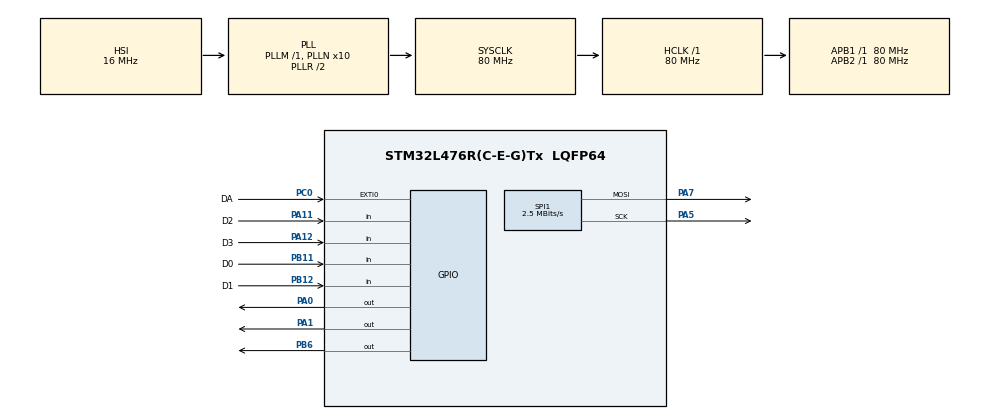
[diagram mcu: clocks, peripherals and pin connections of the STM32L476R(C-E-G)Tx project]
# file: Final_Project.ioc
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Mcu.Family=STM32L4
Mcu.Name=STM32L476R(C-E-G)Tx
Mcu.Package=LQFP64
NVIC.EXTI0_IRQn=true\:0\:0\:false\:false\:true\:true\:true\:true
NVIC.PriorityGroup=NVIC_PRIORITYGROUP_4
PA0.Signal=GPIO_Output
PA1.Signal=GPIO_Output
PA11.GPIO_Label=D2
PA11.Signal=GPIO_Input
PA12.GPIO_Label=D3
PA12.Signal=GPIO_Input
PA13\ (JTMS-SWDIO).GPIO_Label=TMS
PA13\ (JTMS-SWDIO).Mode=Serial_Wire
PA13\ (JTMS-SWDIO).Signal=SYS_JTMS-SWDIO
PA14\ (JTCK-SWCLK).GPIO_Label=TCK
PA14\ (JTCK-SWCLK).Mode=Serial_Wire
PA14\ (JTCK-SWCLK).Signal=SYS_JTCK-SWCLK
PA3.GPIO_Label=USART_RX
PA3.GPIO_Mode=GPIO_MODE_AF_PP
PA3.GPIO_PuPd=GPIO_NOPULL
PA3.GPIO_Speed=GPIO_SPEED_FREQ_VERY_HIGH
PA3.Signal=USART2_RX
PA5.Mode=TX_Only_Simplex_Unidirect_Master
PA5.Signal=SPI1_SCK
PA7.Mode=TX_Only_Simplex_Unidirect_Master
PA7.Signal=SPI1_MOSI
PB11.GPIO_Label=D0
PB11.Signal=GPIO_Input
PB12.GPIO_Label=D1
PB12.Signal=GPIO_Input
PB3\ (JTDO-TRACESWO).GPIO_Label=SWO
PB3\ (JTDO-TRACESWO).Signal=SYS_JTDO-SWO
PB6.Signal=GPIO_Output
PC0.GPIO_Label=DA
PC0.GPIO_ModeDefaultEXTI=GPIO_MODE_IT_RISING
PC0.Signal=GPXTI0
PC14-OSC32_IN\ (PC14).Mode=LSE-External-Oscillator
PC14-OSC32_IN\ (PC14).Signal=RCC_OSC32_IN
PC15-OSC32_OUT\ (PC15).Mode=LSE-External-Oscillator
PC15-OSC32_OUT\ (PC15).Signal=RCC_OSC32_OUT
PH0-OSC_IN\ (PH0).Signal=RCC_OSC_IN
PH1-OSC_OUT\ (PH1).Signal=RCC_OSC_OUT
ProjectManager.HeapSize=0x200
ProjectManager.StackSize=0x400
ProjectManager.TargetToolchain=STM32CubeIDE
RCC.ADCFreq_Value=64000000
RCC.AHBFreq_Value=80000000
RCC.APB1Freq_Value=80000000
RCC.APB1TimFreq_Value=80000000
RCC.APB2Freq_Value=80000000
RCC.APB2TimFreq_Value=80000000
RCC.CortexFreq_Value=80000000
RCC.HCLKFreq_Value=80000000
RCC.HSE_VALUE=8000000
RCC.HSI_VALUE=16000000
RCC.MSI_VALUE=4000000
RCC.PLLN=10
RCC.PLLSourceVirtual=RCC_PLLSOURCE_HSI
RCC.PREFETCH_ENABLE=1
RCC.SYSCLKFreq_VALUE=80000000
RCC.SYSCLKSource=RCC_SYSCLKSOURCE_PLLCLK
RCC.USBFreq_Value=64000000
RCC.VCOOutputFreq_Value=160000000
SPI1.BaudRatePrescaler=SPI_BAUDRATEPRESCALER_32
SPI1.CalculateBaudRate=2.5 MBits/s
SPI1.DataSize=SPI_DATASIZE_8BIT
SPI1.Direction=SPI_DIRECTION_2LINES
SPI1.Mode=SPI_MODE_MASTER
SPI1.VirtualType=VM_MASTER
board=NUCLEO-L476RG

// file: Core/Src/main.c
/* USER CODE BEGIN Header */
/**
  ******************************************************************************
  * @file           : main.c
  * @brief          : Main program body
  ******************************************************************************
  * @attention
  *
  * Copyright (c) 2023 STMicroelectronics.
  * All rights reserved.
  *
  * This software is licensed under terms that can be found in the LICENSE file
  * in the root directory of this software component.
  * If no LICENSE file comes with this software, it is provided AS-IS.
  *
  ******************************************************************************
  */
/* USER CODE END Header */
#include "main.h"

/* USER CODE BEGIN Includes */
#include <math.h>
#include <stdlib.h>
#include <stdio.h>
#include <string.h>
#include <time.h>
/* USER CODE END Includes */

/* USER CODE BEGIN PD */
#define WIDTH 84
#define HEIGHT 48
#define NUM_BANKS 6
/* USER CODE END PD */

/* USER CODE BEGIN PM */
#define CE_PORT GPIOB // PB6 chip enable (aka slave select)
#define CE_PIN GPIO_PIN_6
#define DC_PORT GPIOA // PA0 data/control
#define DC_PIN GPIO_PIN_0
#define RESET_PORT GPIOA // PA1 reset
#define RESET_PIN GPIO_PIN_1
#define GLCD_WIDTH 84
#define GLCD_HEIGHT 48
#define NUM_BANKS 6
/* USER CODE END PM */

SPI_HandleTypeDef hspi1;

/* USER CODE BEGIN PV */
const char font_table[][6] = {
	{0x00, 0x00, 0x00, 0x00, 0x00, 0x00}, // space						0
	{0x3E, 0x41, 0x41, 0x7F, 0x40, 0x20}, // 'A'						1
	{0x7F, 0x49, 0x49, 0x76, 0x40, 0x20}, // 'B'						2
	{0x3E, 0x41, 0x41, 0x41, 0x40, 0x20}, // 'C'						3
	{0x7F, 0x41, 0x41, 0x7E, 0x40, 0x20}, // 'D'						4
	{0x3E, 0x49, 0x49, 0x49, 0x40, 0x20}, // 'E'						5
	{0x7F, 0x09, 0x09, 0x09, 0x10, 0x20}, // 'F'						6
	{0x3E, 0x41, 0x49, 0x39, 0x10, 0x20}, // 'G'						7
	{0x7F, 0x08, 0x08, 0x7F, 0x40, 0x20}, // 'H'						8
	{0x41, 0x7F, 0x41, 0x41, 0x40, 0x20}, // 'I'						9
	{0x21, 0x51, 0x7F, 0x21, 0x20, 0x20}, // 'J'						10
	{0x7F, 0x0C, 0x12, 0x21, 0x40, 0x20}, // 'K'						11
	{0x04, 0x7E, 0x45, 0x42, 0x40, 0x20}, // 'L'						12
	{0x7F, 0x02, 0x04, 0x02, 0x7F, 0x20}, // 'M'						13
	{0x7F, 0x04, 0x08, 0x10, 0x7F, 0x20}, // 'N'						14
	{0x3E, 0x41, 0x41, 0x3E, 0x20, 0x20}, // 'O'						15
	{0x7E, 0x11, 0x11, 0x1E, 0x10, 0x20}, // 'P'						16
	{0x3E, 0x49, 0x51, 0x3E, 0x20, 0x20}, // 'Q'						17
	{0x7F, 0x19, 0x29, 0x46, 0x40, 0x20}, // 'R'						18
	{0x46, 0x49, 0x49, 0x71, 0x40, 0x20}, // 'S'						19
	{0x01, 0x01, 0x7F, 0x41, 0x41, 0x20}, // 'T'						20
	{0x3F, 0x40, 0x40, 0x3F, 0x20, 0x20}, // 'U'						21
	{0x7F, 0x20, 0x10, 0x1F, 0x10, 0x20}, // 'V'						22
	{0x7F, 0x20, 0x10, 0x20, 0x7F, 0x20}, // 'W'						23
	{0x41, 0x22, 0x1C, 0x24, 0x42, 0x20}, // 'X'						24
	{0x4F, 0x50, 0x50, 0x7F, 0x40, 0x20}, // 'Y'						25
	{0x71, 0x49, 0x45, 0x47, 0x40, 0x20}, // 'Z'						26
	{0x00, 0x00, 0x40, 0x00, 0x00, 0x00}, // period						27
	{0x00, 0x00, 0x5F, 0x00, 0x00, 0x00}, // !							28
	{0x00, 0x00, 0x7E, 0x81, 0xB5, 0xA1}, // left smiley face			29
	{0xA1, 0xB5, 0x81, 0x7E, 0x00, 0x00}, // right smiley face			30
};

// IMAGE is like the texture
char IMAGE[HEIGHT][WIDTH];

/* SCREEN is the converted image to an array type that we can display
 * {TOP, 2, 3, 4, 5, BOTTOM} LEFT
 *  ...
 * {TOP, 2, 3, 4, 5, BOTTOM} RIGHT
 *
 * {0xFF, 0xFF, 0xFF, 0xFF, 0xFF, 0xFF},
 * {0x01, 0x00, 0x00, 0x00, 0x00, 0x80},
 * {0x01, 0x00, 0x00, 0x00, 0x00, 0x80},
 * {0x01, 0x00, 0x00, 0x00, 0x00, 0x80}
 */
// 84x48 pixels, 48 separated to six 8-bit pixel lines
char SCREEN[WIDTH][NUM_BANKS];

// Player: stores position, model
struct Actor{
	int x;
	int y;
	int model_width;
	int model_height;
	int speed;
	char* name;
	char* model;
};
char player_model[] = {
	"   x   "
	"  xxx  "
	" xxxxx "
	"xxxxxxx"
};
char O_model[] = {
	"  xxx  "
	" xxxxx "
	"xxxxxxx"
	" xxxxx "
	"  xxx  "
};
char X_model[] = {
	"xx   xx"
	" xx xx "
	"  xxx  "
	" xx xx "
	"xx   xx"
};

// Keeps track of the key that was pressed
char KEY = 0;

// Keeps track if the user wins or lose
char WIN = 0;
char LOSE = 0;

/* USER CODE END PV */

void SystemClock_Config(void);
static void MX_GPIO_Init(void);
static void MX_SPI1_Init(void);
/* USER CODE BEGIN PFP */
void SPI_write(unsigned char data);
void GLCD_data_write(unsigned char data);
void GLCD_command_write(unsigned char data);
void GLCD_init(void);
void GLCD_setCursor(unsigned char x, unsigned char y);
void GLCD_clear(void);
void GLCD_putchar(int font_table_row);
unsigned char keypad_decode();
void HAL_GPIO_EXTI_Callback(uint16_t GPIO_Pin);
/* USER CODE END PFP */

/* USER CODE BEGIN 0 */
/*
 * clears the image so that it is filled with empty spaces
 */
void clearImage(){
	for (int y = 0; y < HEIGHT; ++y)
	{
		for (int x = 0; x < WIDTH; ++x)
		{
			IMAGE[y][x] = ' ';
		}
	}
}

/*
 * Takes data of all actors, such as their position and texture,
 * then converts it to an IMAGE array
 * that represents each pixel on the display/screen.
 * PARAMETER 1: array of address of actors
 * PARAMETER 2: number of actors
 */
void convertToImage(struct Actor* actors[], int num_actors)
{
	for (int i = 0; i < num_actors; ++i)
	{
		// create IMAGE
		int model_pos = 0;
		for (int y = 0; y < HEIGHT; ++y)
		{
			for (int x = 0; x < WIDTH; ++x)
			{
				if (x >= actors[i]->x && x < actors[i]->x+actors[i]->model_width && y >= actors[i]->y && y < actors[i]->y+actors[i]->model_height)
				{
					if (model_pos < actors[i]->model_height * actors[i]->model_width)
					{
						IMAGE[y][x] = actors[i]->model[model_pos];
						++model_pos;
					}
				}
			}
		}
	}
}

/*
 * Converts image to format that the screen can accept.
 */
void convertToScreen()
{
	// convert IMAGE to SCREEN
	for (int x = 0; x < WIDTH; ++x)
	{
        int bank = 0;
        int pixel = 0;
        char binary = 0b00000000;
        for (int y = 0; y < HEIGHT; ++y)
        {
            if (IMAGE[y][x] == 'x')
            {
                binary |= (1 << pixel);
            }
            ++pixel;
            if (pixel == 8)
            {
                SCREEN[x][bank] = binary;
                ++bank;
                pixel = 0;
                binary = 0b00000000;
            }
        }
	}
}

/*
 * draw image on screen by column from left to right
 * works by filling six vertical banks (1 bank = 8 pixels vertically)
 */
void drawScreen()
{
	for (int y=0; y<6; ++y)
	{
		for (int x=0; x<84; ++x)
		{
		  GLCD_data_write(SCREEN[x][y]);
		}
	}
	//HAL_Delay(5000);
	//GLCD_clear();
}

/*
 * Player controls.
 * PARAMETER 1: pointer to player
 */
void controls(struct Actor* player)
{
	// Keypad
	  switch(KEY)
	  {
	  case 2:		// UP
		  player->y -= 2;
		  KEY = 0;
		  break;
	  case 8:		// DOWN
		  player->y += 2;
		  KEY = 0;
		  break;
	  case 4:		// LEFT
		  player->x -= 5;
		  KEY = 0;
		  break;
	  case 11:		// RIGHT
		  player->x += 5;
		  KEY = 0;
		  break;
	  default:
		  KEY = 0;
		  break;
	  }
}

/*
 * Check if a collision happened between player and other Actors
 * PARAMETER 1:	pointer to player
 * PARAMETER 2:	array of Actors
 * RETURN:		int collision_type
 * 					0: nothing
 * 					1: win
 * 					2: lose
 */
int checkCollisions(struct Actor* player, struct Actor* actors[], int sizeOfActors)
{
	int player_left = player->x;
	//int player_right = player->x + player->model_width;
	int player_top = player->y;
	//int player_bottom = player->y + player->model_height;
	for (int i = 0; i < sizeOfActors; ++i)
	{
		if (strcmp(player->name, actors[i]->name) != 0)
		{
			int actor_left = actors[i]->x;
			//int actor_right = actors[i]->x + actors[i]->model_width;
			int actor_top = actors[i]->y;
			//int actor_bottom = actors[i]->y + actors[i]->model_height;

			if (
					(abs(actor_left - player_left) <= player->model_width) &&
					(abs(actor_top - player_top) <= player->model_height)
				)
			{
				if (strcmp(actors[i]->name, "O") == 0)
					return 1;
				if (strcmp(actors[i]->name, "X") == 0)
					return 2;
			}
		}
	}
	return 0;
}

/*
 * Random number generation.
 * PARAMETER 1: lowest number you want generated
 * PARAMETER 2: highest number you want generated
 * RETURN: int in range [lower, upper]
 */
int randomINT(int lower, int upper)
{
	return (rand() % (upper + 1)) + lower;
}

/*
 * Animate actors.
 * PARAMETER 1: pointer to player
 * PARAMETER 2: array of addresses of actors
 * PARAMETER 3: number of actors
 */
void animateActors(struct Actor* player, struct Actor* actors[], int sizeOfActors)
{
	int defaultX = -10;
	int defaultY = -10;
	int minSpeed = 1;
	int maxSpeed = 3;
	int minX = 0;
	int maxX = 80;
	int minY = -5;
	int maxY = 55;
	for (int i = 0; i < sizeOfActors; ++i)
	{
		if (strcmp(player->name, actors[i]->name) != 0)
		{
			// if location is at the starting default of (-10,-10)
			// draw it at a random location at the top of the screen
			// with random x position in range [0,80]
			// with random speed in range [1,5]
			if ((actors[i]->x == defaultX) && (actors[i]->y == defaultY))
			{
				actors[i]->y = minY;
				actors[i]->x = randomINT(minX,maxX);
				actors[i]->speed = randomINT(minSpeed,maxSpeed);
			}
			// if actor goes over the bottom of the screen,
			// redraw on top of screen with a different x position
			// with a different speed
			if (actors[i]->y > maxY)
			{
				actors[i]->y = minY;
				actors[i]->x = randomINT(minX,maxX);
				actors[i]->speed = randomINT(minSpeed,maxSpeed);
			}
			else
			{
				// make sure that an object's speed is never zero
				// so that it keeps falling
				if (actors[i]->speed == 0)
					actors[i]->speed = randomINT(minSpeed,maxSpeed);
				actors[i]->y += actors[i]->speed;
			}
		}
	}
}
/* USER CODE END 0 */

int main(void)
{

  /* MCU Configuration--------------------------------------------------------*/

  /* Reset of all peripherals, Initializes the Flash interface and the Systick. */
  HAL_Init();

  /* Configure the system clock */
  SystemClock_Config();

  /* Initialize all configured peripherals */
  MX_GPIO_Init();
  MX_SPI1_Init();
  /* USER CODE BEGIN 2 */
  GLCD_init(); // initialize the screen
  GLCD_clear(); // clear the screen

  // WIN screen
  int win_screen[] = {
		  25,15,21,0,23,9,14,28,29,30
  };

  // LOSE screen
  int lose_screen[] = {
		  25,15,21,0,12,15,19,5,27,27,27
  };

  // player initialization
  struct Actor player;
  player.model = player_model;
  player.model_width = 7;
  player.model_height = 4;
  player.x = 84/2 - player.model_width/2;
  player.y = 48-player.model_height;
  player.name = "player";
  player.speed = 0; // we move the player, so its speed is 0

  // 3 X, 1 O, 1 player
  int num_X = 2;
  int num_O = 1;
  int num_player = 1;
  int num_Actors = num_X + num_O + num_player;
  // array of the address of each actor
  struct Actor* actors[num_Actors];
  for (int i = 0; i < num_Actors; ++i)
  {
	  if (i < num_X)
	  {
		actors[i] = (struct Actor*)malloc(sizeof(struct Actor));

		actors[i]->model = X_model;
		actors[i]->model_width = 7;
		actors[i]->model_height = 5;
		actors[i]->x = -10;
		actors[i]->y = -10;
		actors[i]->name = "X";
		actors[i]->speed = 0;
	  }
	  else if (i < num_X + num_O)
	  {
		// O initialization
		struct Actor O;
		O.model = O_model;
		O.model_width = 7;
		O.model_height = 5;
		O.x = -10;
		O.y = -10;
		O.name = "O";
		O.speed = 0;

		actors[i] = &O;
	  }
	  else
	  {
		  actors[i] = &player;
	  }
  }

  // use current time as seed for random number generator
  time_t t;
  srand((unsigned)time(&t));
  /* USER CODE END 2 */

  /* Infinite loop */
  while (1)
  {

    /* USER CODE BEGIN 3 */
	  if (WIN)
	  {
		  GLCD_clear();
		  int size = sizeof(win_screen)/sizeof(win_screen[0]);
		  for (int i=0; i < size; ++i)
		  {
			  GLCD_putchar(win_screen[i]);
			  if (i < size - 2)
				  HAL_Delay(500);
		  }
		  HAL_Delay(5000);
	  }
	  else if (LOSE)
	  {
		  GLCD_clear();
		  int size = sizeof(lose_screen)/sizeof(lose_screen[0]);
		  for (int i=0; i < size; ++i)
		  {
			  GLCD_putchar(lose_screen[i]);
			  HAL_Delay(500);
		  }
		  HAL_Delay(5000);
	  }
	  else
	  {
		  // create image with actors combined
		  // then renders the screen
		  clearImage();
		  convertToImage(actors, num_Actors);
		  convertToScreen();
		  drawScreen();

		  // Handles controls
		  controls(&player);

		  // Handles collisions
		  int collision_type = checkCollisions(&player, actors, num_Actors);
		  // 0 : nothing
		  // 1 : win
		  // 2 : lose
		  if (collision_type == 1)
			  WIN = 1;
		  else if (collision_type == 2)
			  LOSE = 1;

		  // moves position of actors
		  animateActors(&player, actors, num_Actors);
		  HAL_Delay(300);
	  }
  }
  /* USER CODE END 3 */
}

void SystemClock_Config(void)
{
  RCC_OscInitTypeDef RCC_OscInitStruct = {0};
  RCC_ClkInitTypeDef RCC_ClkInitStruct = {0};

  /** Configure the main internal regulator output voltage
  */
  if (HAL_PWREx_ControlVoltageScaling(PWR_REGULATOR_VOLTAGE_SCALE1) != HAL_OK)
  {
    Error_Handler();
  }

  /** Initializes the RCC Oscillators according to the specified parameters
  * in the RCC_OscInitTypeDef structure.
  */
  RCC_OscInitStruct.OscillatorType = RCC_OSCILLATORTYPE_HSI;
  RCC_OscInitStruct.HSIState = RCC_HSI_ON;
  RCC_OscInitStruct.HSICalibrationValue = RCC_HSICALIBRATION_DEFAULT;
  RCC_OscInitStruct.PLL.PLLState = RCC_PLL_ON;
  RCC_OscInitStruct.PLL.PLLSource = RCC_PLLSOURCE_HSI;
  RCC_OscInitStruct.PLL.PLLM = 1;
  RCC_OscInitStruct.PLL.PLLN = 10;
  RCC_OscInitStruct.PLL.PLLP = RCC_PLLP_DIV7;
  RCC_OscInitStruct.PLL.PLLQ = RCC_PLLQ_DIV2;
  RCC_OscInitStruct.PLL.PLLR = RCC_PLLR_DIV2;
  if (HAL_RCC_OscConfig(&RCC_OscInitStruct) != HAL_OK)
  {
    Error_Handler();
  }

  /** Initializes the CPU, AHB and APB buses clocks
  */
  RCC_ClkInitStruct.ClockType = RCC_CLOCKTYPE_HCLK|RCC_CLOCKTYPE_SYSCLK
                              |RCC_CLOCKTYPE_PCLK1|RCC_CLOCKTYPE_PCLK2;
  RCC_ClkInitStruct.SYSCLKSource = RCC_SYSCLKSOURCE_PLLCLK;
  RCC_ClkInitStruct.AHBCLKDivider = RCC_SYSCLK_DIV1;
  RCC_ClkInitStruct.APB1CLKDivider = RCC_HCLK_DIV1;
  RCC_ClkInitStruct.APB2CLKDivider = RCC_HCLK_DIV1;

  if (HAL_RCC_ClockConfig(&RCC_ClkInitStruct, FLASH_LATENCY_4) != HAL_OK)
  {
    Error_Handler();
  }
}

static void MX_SPI1_Init(void)
{

  /* SPI1 parameter configuration*/
  hspi1.Instance = SPI1;
  hspi1.Init.Mode = SPI_MODE_MASTER;
  hspi1.Init.Direction = SPI_DIRECTION_2LINES;
  hspi1.Init.DataSize = SPI_DATASIZE_8BIT;
  hspi1.Init.CLKPolarity = SPI_POLARITY_LOW;
  hspi1.Init.CLKPhase = SPI_PHASE_1EDGE;
  hspi1.Init.NSS = SPI_NSS_SOFT;
  hspi1.Init.BaudRatePrescaler = SPI_BAUDRATEPRESCALER_32;
  hspi1.Init.FirstBit = SPI_FIRSTBIT_MSB;
  hspi1.Init.TIMode = SPI_TIMODE_DISABLE;
  hspi1.Init.CRCCalculation = SPI_CRCCALCULATION_DISABLE;
  hspi1.Init.CRCPolynomial = 7;
  hspi1.Init.CRCLength = SPI_CRC_LENGTH_DATASIZE;
  hspi1.Init.NSSPMode = SPI_NSS_PULSE_ENABLE;
  if (HAL_SPI_Init(&hspi1) != HAL_OK)
  {
    Error_Handler();
  }

}

static void MX_GPIO_Init(void)
{
  GPIO_InitTypeDef GPIO_InitStruct = {0};

  /* GPIO Ports Clock Enable */
  __HAL_RCC_GPIOC_CLK_ENABLE();
  __HAL_RCC_GPIOH_CLK_ENABLE();
  __HAL_RCC_GPIOA_CLK_ENABLE();
  __HAL_RCC_GPIOB_CLK_ENABLE();

  /*Configure GPIO pin Output Level */
  HAL_GPIO_WritePin(GPIOA, GPIO_PIN_0|GPIO_PIN_1, GPIO_PIN_RESET);

  /*Configure GPIO pin Output Level */
  HAL_GPIO_WritePin(GPIOB, GPIO_PIN_6, GPIO_PIN_RESET);

  /*Configure GPIO pin : DA_Pin */
  GPIO_InitStruct.Pin = DA_Pin;
  GPIO_InitStruct.Mode = GPIO_MODE_IT_RISING;
  GPIO_InitStruct.Pull = GPIO_NOPULL;
  HAL_GPIO_Init(DA_GPIO_Port, &GPIO_InitStruct);

  /*Configure GPIO pins : PA0 PA1 */
  GPIO_InitStruct.Pin = GPIO_PIN_0|GPIO_PIN_1;
  GPIO_InitStruct.Mode = GPIO_MODE_OUTPUT_PP;
  GPIO_InitStruct.Pull = GPIO_NOPULL;
  GPIO_InitStruct.Speed = GPIO_SPEED_FREQ_LOW;
  HAL_GPIO_Init(GPIOA, &GPIO_InitStruct);

  /*Configure GPIO pin : USART_RX_Pin */
  GPIO_InitStruct.Pin = USART_RX_Pin;
  GPIO_InitStruct.Mode = GPIO_MODE_AF_PP;
  GPIO_InitStruct.Pull = GPIO_NOPULL;
  GPIO_InitStruct.Speed = GPIO_SPEED_FREQ_VERY_HIGH;
  GPIO_InitStruct.Alternate = GPIO_AF7_USART2;
  HAL_GPIO_Init(USART_RX_GPIO_Port, &GPIO_InitStruct);

  /*Configure GPIO pins : D0_Pin D1_Pin */
  GPIO_InitStruct.Pin = D0_Pin|D1_Pin;
  GPIO_InitStruct.Mode = GPIO_MODE_INPUT;
  GPIO_InitStruct.Pull = GPIO_NOPULL;
  HAL_GPIO_Init(GPIOB, &GPIO_InitStruct);

  /*Configure GPIO pins : D2_Pin D3_Pin */
  GPIO_InitStruct.Pin = D2_Pin|D3_Pin;
  GPIO_InitStruct.Mode = GPIO_MODE_INPUT;
  GPIO_InitStruct.Pull = GPIO_NOPULL;
  HAL_GPIO_Init(GPIOA, &GPIO_InitStruct);

  /*Configure GPIO pin : PB6 */
  GPIO_InitStruct.Pin = GPIO_PIN_6;
  GPIO_InitStruct.Mode = GPIO_MODE_OUTPUT_PP;
  GPIO_InitStruct.Pull = GPIO_NOPULL;
  GPIO_InitStruct.Speed = GPIO_SPEED_FREQ_LOW;
  HAL_GPIO_Init(GPIOB, &GPIO_InitStruct);

  /* EXTI interrupt init*/
  HAL_NVIC_SetPriority(EXTI0_IRQn, 0, 0);
  HAL_NVIC_EnableIRQ(EXTI0_IRQn);

}

/* USER CODE BEGIN 4 */
void SPI_write(unsigned char data)
{
	// Chip Enable (low is asserted)
	HAL_GPIO_WritePin(CE_PORT, CE_PIN, GPIO_PIN_RESET);
	// Send data over SPI1
	HAL_SPI_Transmit(&hspi1, (uint8_t*) &data, 1, HAL_MAX_DELAY);
	// Chip Disable
	HAL_GPIO_WritePin(CE_PORT, CE_PIN, GPIO_PIN_SET);
}

void GLCD_data_write(unsigned char data)
{
	// Switch to "data" mode (D/C pin high)
	HAL_GPIO_WritePin(DC_PORT, DC_PIN, GPIO_PIN_SET);
	// Send data over SPI
	SPI_write(data);
}

void GLCD_command_write(unsigned char data)
{
	// Switch to "command" mode (D/C pin low)
	HAL_GPIO_WritePin(DC_PORT, DC_PIN, GPIO_PIN_RESET);
	// Send data over SPI
	SPI_write(data);
}

void GLCD_init(void)
{
	// Keep CE high when not transmitting
	HAL_GPIO_WritePin(CE_PORT, CE_PIN, GPIO_PIN_SET);
	// Reset the screen (low pulse - down & up)
	HAL_GPIO_WritePin(RESET_PORT, RESET_PIN, GPIO_PIN_RESET);
	HAL_GPIO_WritePin(RESET_PORT, RESET_PIN, GPIO_PIN_SET);
	// Configure the screen (according to the datasheet)
	GLCD_command_write(0x21); // enter extended command mode
	GLCD_command_write(0xB0); // set LCD Vop for contrast (this may be adjusted)
	GLCD_command_write(0x04); // set temp coefficient
	GLCD_command_write(0x15); // set LCD bias mode (this may be adjusted)
	GLCD_command_write(0x20); // return to normal command mode
	GLCD_command_write(0x0C); // set display mode normal
}

void GLCD_setCursor(unsigned char x, unsigned char y)
{
	GLCD_command_write(0x80 | x); // column
	GLCD_command_write(0x40 | y); // bank
}

void GLCD_clear(void)
{
	int i;
	for(i = 0; i < (GLCD_WIDTH * NUM_BANKS); i++)
	{
		GLCD_data_write(0x00); // write zeros
	}
	GLCD_setCursor(0,0); // return cursor to top left
}

void GLCD_putchar(int font_table_row)
{
	// go through each value in order to print the character
	int i;
	for (i=0; i<6; i++){
		GLCD_data_write(font_table[font_table_row][i]);
	}
}

// decode the keypad according to what we need each keys to be
unsigned char keypad_decode(){
  unsigned char key = 0x0;
  unsigned char data = 0b0000;

  // read the data pins and combine into the 4-bit value: D3_D2_D1_D0
  if (HAL_GPIO_ReadPin(D0_GPIO_Port, D0_Pin))
    data |= bit(0);
  if (HAL_GPIO_ReadPin(D1_GPIO_Port, D1_Pin))
    data |= bit(1);
  if (HAL_GPIO_ReadPin(D2_GPIO_Port, D2_Pin))
    data |= bit(2);
  if (HAL_GPIO_ReadPin(D3_GPIO_Port, D3_Pin))
    data |= bit(3);

  // The key encoder gives the following "data" values:
  // 0 1 2 3
  // 4 5 6 7
  // 8 9 A B
  // C D E F

  // The following switch statement re-maps it to these "key" names:
  // 1 2 3 A
  // 4 5 6 B
  // 7 8 9 C
  // E 0 F D, where E is * and F is #

  switch(data){
    case 0x0: key = 0x1; break; // fill out the missing key values (?) in this switch statement
    case 0x1: key = 0x2; break;
    case 0x2: key = 0x3; break;
    case 0x3: key = 0xA; break;
    case 0x4: key = 0x4; break;
    case 0x5: key = 0x5; break;
    case 0x6: key = 0x6; break;
    case 0x7: key = 0xB; break;
    case 0x8: key = 0x7; break;
    case 0x9: key = 0x8; break;
    case 0xA: key = 0x9; break;
    case 0xB: key = 0xC; break;
    case 0xC: key = 0xE; break;
    case 0xD: key = 0x0; break;
    case 0xE: key = 0xF; break;
    case 0xF: key = 0xD; break;
  }

  return key;
}

void HAL_GPIO_EXTI_Callback(uint16_t GPIO_Pin)
{
	if(GPIO_Pin == DA_Pin)
	{
		// Read data
		unsigned char key = keypad_decode();  // determine which key was pressed
		// RETURNS KEY
		switch (key){
		case 0x1:
			KEY = 1;
			break;
		case 0x2:
			KEY = 2;
			break;
		case 0x3:
			KEY = 3;
			break;
		case 0x4:
			KEY = 4;
			break;
		case 0x5:
			KEY = 5;
			break;
		case 0x6:
			KEY = 6;
			break;
		case 0x7:
			KEY = 7;
			break;
		case 0x8:
			KEY = 8;
			break;
		case 0x9:
			KEY = 9;
			break;
		case 0xA:
			KEY = 10;
			break;
		case 0xB:
			KEY = 11;
			break;
		case 0xC:
			KEY = 12;
			break;
		case 0xD:
			KEY = 13;
			break;
		case 0xE:
			KEY = 14;
			break;
		case 0xF:
			KEY = 15;
			break;
		}
	}
}
/* USER CODE END 4 */

void Error_Handler(void)
{
  __disable_irq();
  while (1)
  {
  }
}
